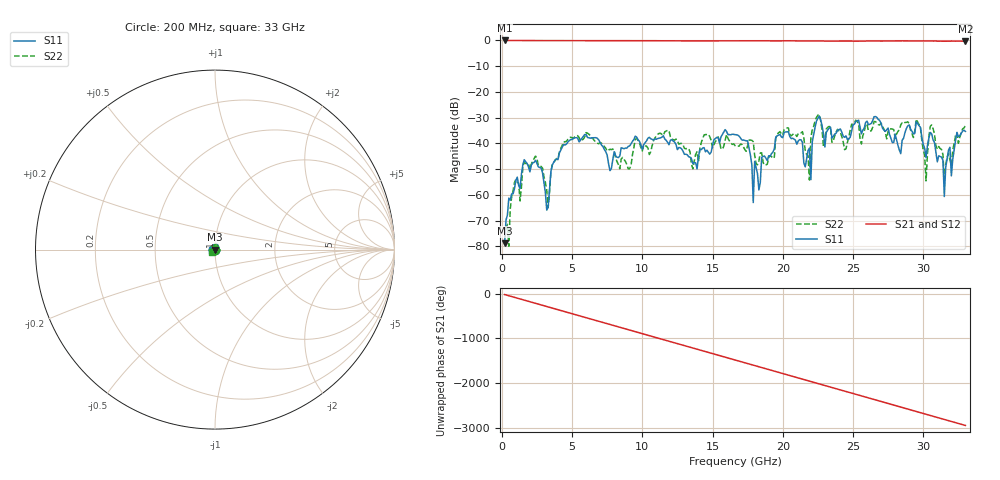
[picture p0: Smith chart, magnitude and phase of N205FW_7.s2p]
# GHZ S RI R 50
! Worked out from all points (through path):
!   329 points, 200 MHz to 33 GHz, reference 50 ohm
!   highest |S21| = -0.01 dB at 200 MHz (marker M1); lowest = -0.4 dB at 33 GHz (marker M2)
!   group delay of S21, straight-line fit = 248 ps
!   lowest |S11| = -78.9 dB at 200 MHz (marker M3), VSWR 1.00, Z = 50 - j0.00932 ohm
!   |S11| at or under -10 dB: start of sweep to end of sweep
!   |S22| runs from -79.9 to -28.8 dB; largest |S21 - S12| = 0.0022
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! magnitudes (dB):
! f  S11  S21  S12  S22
! 200 MHz  -78.9  0.0  0.0  -76.6
! 1.6 GHz  -46.3  0.0  0.0  -47.3
! 3.2 GHz  -65.9  -0.1  -0.1  -58.3
! 3.6 GHz  -48.3  -0.1  -0.1  -48.3
! 5.7 GHz  -38.0  -0.1  -0.1  -38.8
! 11.2 GHz  -38.0  -0.1  -0.1  -36.1
! 16.6 GHz  -36.6  -0.2  -0.2  -40.8
! 17.5 GHz  -39.0  -0.2  -0.2  -40.7
! 17.9 GHz  -63.0  -0.2  -0.2  -39.3
! 18 GHz  -47.0  -0.1  -0.1  -44.6
! 19.6 GHz  -37.1  -0.2  -0.2  -36.5
! 21.4 GHz  -39.6  -0.2  -0.2  -35.4
! 21.9 GHz  -41.8  -0.2  -0.2  -54.2
! 22 GHz  -54.1  -0.2  -0.2  -37.7
! 22.1 GHz  -39.4  -0.2  -0.2  -34.8
! 27.6 GHz  -36.6  -0.2  -0.2  -34.2
! 29.5 GHz  -31.7  -0.2  -0.2  -30.6
! 30.2 GHz  -45.6  -0.2  -0.2  -54.6
! 30.6 GHz  -36.3  -0.2  -0.2  -32.8
! 31.5 GHz  -60.6  -0.3  -0.3  -53.8
! 31.8 GHz  -42.6  -0.3  -0.3  -43.9
! 33 GHz  -35.3  -0.4  -0.4  -33.1
